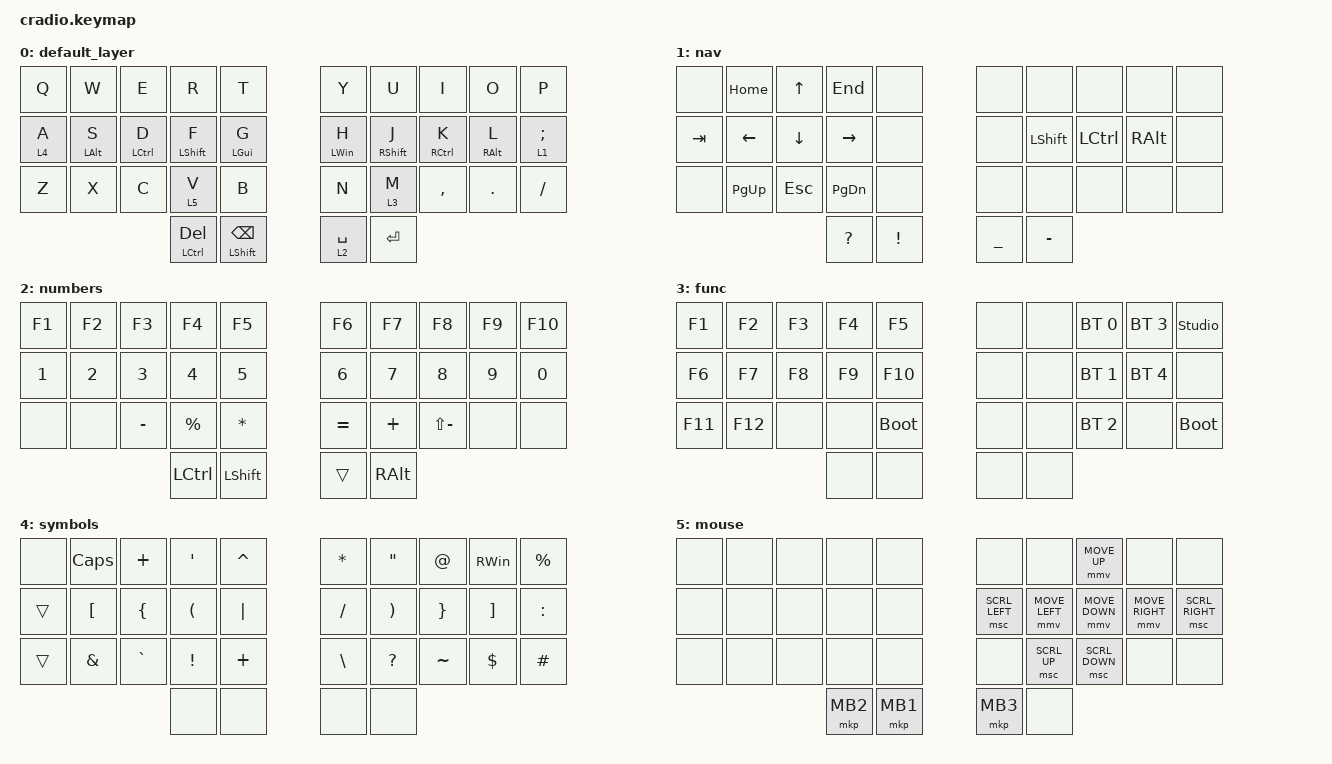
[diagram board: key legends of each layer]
// Copyright (c) 2022 The ZMK Contributors
// SPDX-License-Identifier: MIT

#define ZMK_MOUSE_DEFAULT_MOVE_VAL 1250
#define ZMK_MOUSE_DEFAULT_SCRL_VAL 70

#include <behaviors.dtsi>
#include <dt-bindings/zmk/bt.h>
#include <dt-bindings/zmk/keys.h>
#include <dt-bindings/zmk/outputs.h>
#include <dt-bindings/zmk/mouse.h>

#define MAC 0
#define WIN 1
#define RIG 2
#define LEF 3
#define TRI 4
#define MOUSE 5

/ {
    chosen { zmk,charmap = &charmap_us; };

    behaviors {
        ht: hold_tap {
            label = "hold_tap";
            compatible = "zmk,behavior-hold-tap";
            #binding-cells = <2>;
            flavor = "tap-preferred";
            tapping-term-ms = <220>;
            quick-tap-ms = <150>;
            global-quick-tap;
            bindings = <&kp>, <&kp>;
        };

        mmv {
            acceleration-exponent = <1>;      // 1
            time-to-max-speed-ms = <800>;    // 40
            delay-ms = <0>;                   // 0
        };

        msc {
            acceleration-exponent = <1>;      // 0
            time-to-max-speed-ms = <200>;      // 500
            delay-ms = <0>;                   // 10
        };
    };

    conditional_layers { compatible = "zmk,conditional-layers"; };

    keymap {
        compatible = "zmk,keymap";

        default_layer {
            bindings = <
&kp Q    &kp W       &kp E        &kp R                    &kp T                   &kp Y           &kp U              &kp I        &kp O       &kp P
&lt 4 A  &ht LALT S  &ht LCTRL D  &ht LEFT_SHIFT F         &ht LEFT_GUI G          &ht LEFT_WIN H  &ht RIGHT_SHIFT J  &ht RCTRL K  &ht RALT L  &lt 1 SEMICOLON
&kp Z    &kp X       &kp C        &lt 5 V                  &kp B                   &kp N           &lt 3 M            &kp COMMA    &kp DOT     &kp SLASH
                                  &mt LEFT_CONTROL DELETE  &mt LSHIFT BACKSPACE    &lt 2 SPACE     &kp ENTER
            >;
        };

        nav {
            bindings = <
&none    &kp HOME        &kp UP_ARROW  &kp END        &none              &none           &none           &none             &none     &none
&kp TAB  &kp LEFT_ARROW  &kp DOWN      &kp RIGHT      &none              &none           &kp LEFT_SHIFT  &kp LEFT_CONTROL  &kp RALT  &none
&none    &kp PAGE_UP     &kp ESCAPE    &kp PAGE_DOWN  &none              &none           &none           &none             &none     &none
                                       &kp QUESTION   &kp EXCLAMATION    &kp UNDERSCORE  &kp MINUS
            >;
        };

        numbers {
            bindings = <
&kp F1        &kp F2        &kp F3        &kp F4            &kp F5            &kp F6        &kp F7         &kp F8         &kp F9  &kp F10
&kp NUMBER_1  &kp NUMBER_2  &kp NUMBER_3  &kp NUMBER_4      &kp NUMBER_5      &kp NUMBER_6  &kp N7         &kp NUMBER_8   &kp N9  &kp NUMBER_0
&none         &none         &kp MINUS     &kp PERCENT       &kp ASTERISK      &kp EQUAL     &kp PLUS       &kp LS(MINUS)  &none   &none
                                          &kp LEFT_CONTROL  &kp LEFT_SHIFT    &trans        &kp RIGHT_ALT
            >;
        };

        func {
            bindings = <
&kp F1   &kp F2   &kp F3  &kp F4  &kp F5         &none  &none  &bt BT_SEL 0  &bt BT_SEL 3  &studio_unlock
&kp F6   &kp F7   &kp F8  &kp F9  &kp F10        &none  &none  &bt BT_SEL 1  &bt BT_SEL 4  &none
&kp F11  &kp F12  &none   &none   &bootloader    &none  &none  &bt BT_SEL 2  &none         &bootloader
                          &none   &none          &none  &none
            >;
        };

        symbols {
            bindings = <
&none   &kp CAPSLOCK      &kp PLUS        &kp SQT               &kp CARET    &kp ASTERISK   &kp DOUBLE_QUOTES      &kp AT_SIGN      &kp RIGHT_WIN      &kp PERCENT
&trans  &kp LEFT_BRACKET  &kp LEFT_BRACE  &kp LEFT_PARENTHESIS  &kp PIPE     &kp SLASH      &kp RIGHT_PARENTHESIS  &kp RIGHT_BRACE  &kp RIGHT_BRACKET  &kp COLON
&trans  &kp AMPERSAND     &kp GRAVE       &kp EXCLAMATION       &kp PLUS     &kp BACKSLASH  &kp QUESTION           &kp TILDE        &kp DOLLAR         &kp HASH
                                          &none                 &none        &none          &none
            >;
        };

        mouse {
            bindings = <
&none  &none  &none  &none     &none       &none           &none           &mmv MOVE_UP    &none            &none
&none  &none  &none  &none     &none       &msc SCRL_LEFT  &mmv MOVE_LEFT  &mmv MOVE_DOWN  &mmv MOVE_RIGHT  &msc SCRL_RIGHT
&none  &none  &none  &none     &none       &none           &msc SCRL_UP    &msc SCRL_DOWN  &none            &none
                     &mkp MB2  &mkp MB1    &mkp MB3        &none
            >;
        };
    };
};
